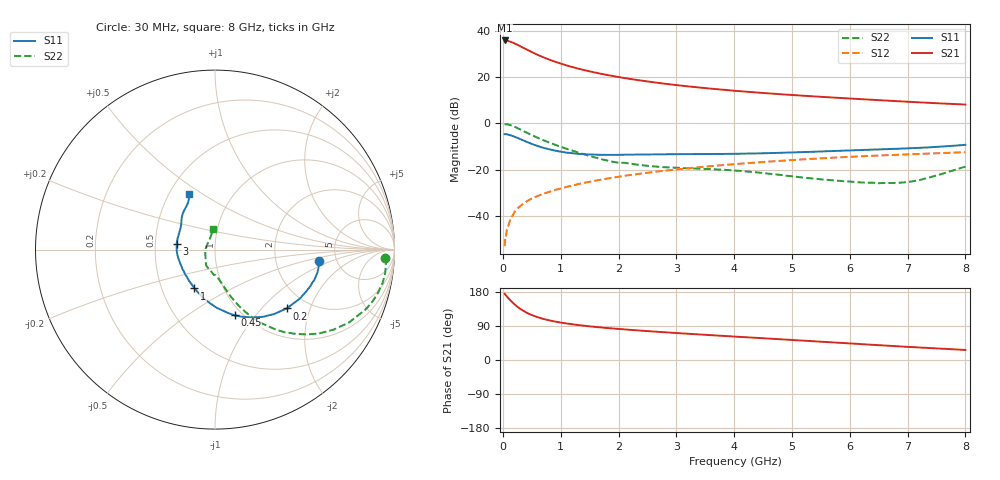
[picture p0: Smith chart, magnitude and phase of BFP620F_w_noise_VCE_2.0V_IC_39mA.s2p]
! Infineon Technologies  Discrete & RF Semiconductors
! BFP620F
! VCE =  2.0 V,  IC =  39 mA
! Common Emitter S-Parameters:  Dec 2014
# GHz  S  MA  R  50
!  f  S11  S21  S12  S22
! GHz  MAG  ANG  MAG  ANG  MAG  ANG  MAG  ANG
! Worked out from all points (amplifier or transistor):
!   95 points, 30 MHz to 8 GHz, reference 50 ohm
!   highest |S21| = 35.9 dB at 30 MHz (marker M1)
!   |S21| within 3 dB of that: start of sweep to 339 MHz
!   unconditionally stable (mu >= 1): 2.187 GHz to end of sweep
!   at 300 MHz: K = 0.45, MSG = 34.6 dB, |S12| = -35.8 dB
!   at 3.3 GHz: K = 1.03, MAG = 16.5 dB, |S12| = -19.2 dB
!   at 8 GHz: K = 1.06, MAG = 8.9 dB, |S12| = -12.5 dB
!   lowest NFmin = 1.34 dB at 450 MHz
!   S11 on the Smith chart (normalised r, x): 30 MHz: 3.66, -0.74; 200 MHz: 1.56, -1.40; 450 MHz: 0.92, -0.79; 1 GHz: 0.73, -0.34; 3 GHz: 0.65, +0.04; 8 GHz: 0.63, +0.44
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0.03  0.5847 -6.5  62.52 174.8  0.0022 83.2  0.9504 -2.7
0.07  0.5814 -14.8  61.84 167.6  0.005 78.7  0.9543 -9.6
0.12  0.5582 -25.0  59.26 158.9  0.0077 81.2  0.9268 -17.6
0.15  0.544 -30.5  57.53 154.3  0.0091 79.1  0.9008 -21.9
0.2  0.5166 -39.4  54.02 147.1  0.012 74.3  0.8502 -28.5
0.25  0.4875 -47.4  50.5 140.6  0.0143 73.3  0.7964 -34.1
0.3  0.4588 -54.8  46.97 135.0  0.0162 70.0  0.7425 -39.1
0.35  0.4301 -61.6  43.53 130.2  0.0182 69.7  0.6905 -43.2
0.45  0.3824 -73.3  37.62 122.0  0.0219 68.4  0.6002 -50.0
0.5  0.3597 -78.5  35.02 118.7  0.0237 68.0  0.5607 -52.7
0.6  0.3244 -88.3  30.6 113.0  0.0268 67.6  0.4905 -57.3
0.7  0.2963 -96.6  27.05 108.4  0.0299 67.7  0.4336 -61.0
0.8  0.2755 -104.3  24.13 104.7  0.033 67.5  0.3866 -64.0
1  0.245 -117.8  19.74 98.8  0.0389 67.3  0.3129 -68.7
1.4  0.2163 -139.8  14.34 90.6  0.0515 66.7  0.2152 -76.2
2  0.2087 -163.7  10.11 82.0  0.0701 65.0  0.1407 -89.2
2.7  0.2141 178.2  7.508 74.2  0.0918 61.7  0.1149 -105.1
3  0.2153 171.9  6.769 71.2  0.1009 60.2  0.1098 -110.4
4.1  0.2209 153.7  4.986 60.9  0.134 53.8  0.0937 -122.6
5.4  0.2444 140.0  3.836 49.2  0.1722 45.2  0.0637 -147.5
6.7  0.2791 127.5  3.091 37.4  0.2065 36.0  0.0512 156.3
8  0.3439 114.8  2.56 26.4  0.238 27.1  0.1158 95.7
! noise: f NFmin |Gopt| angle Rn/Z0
0.45  1.34  0.14  -173  0.16
0.9  1.36  0.14  -172  0.13
1.5  1.37  0.19  -151  0.11
1.8  1.38  0.19  -151  0.12
1.9  1.39  0.19  -150  0.12
2.4  1.41  0.2  214  0.14
3.5  1.47  0.2  220  0.17
5.5  1.61  0.26  246  0.16
6  1.65  0.27  261  0.2
